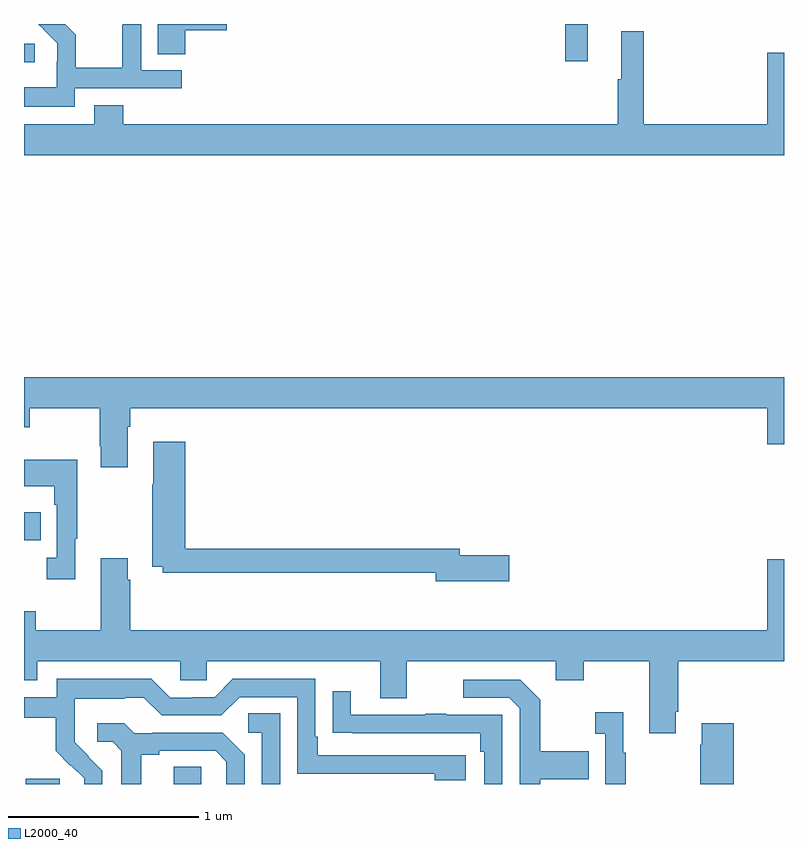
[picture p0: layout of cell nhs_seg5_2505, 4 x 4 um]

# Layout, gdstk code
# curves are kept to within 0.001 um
import gdstk
lib = gdstk.Library(unit=1e-6, precision=1e-09)
def R(c, l, rs):  # rectangles x0, y0, x1, y1
    for r in rs: c.add(gdstk.rectangle(r[:2], r[2:], *l))
def P(c, l, *ps):  # polygons
    for p in ps: c.add(gdstk.Polygon(p, *l))
L2000_40 = (2000, 40)

nhs_seg5_2505 = lib.new_cell('nhs_seg5_2505')
R(nhs_seg5_2505, L2000_40, [(257.009,838.799,257.188,838.827), (257.789,838.799,257.934,838.889), (257,840.082,257.087,840.229), (257,842.597,257.056,842.694), (259.849,842.604,259.967,842.799)])
P(nhs_seg5_2505, L2000_40, [(257.268,842.46),(257.83,842.46),(257.83,842.556),(257.616,842.556),(257.616,842.799),(257.52,842.799),(257.52,842.792),(257.517,842.792),(257.517,842.569),(257.273,842.569),(257.273,842.743),(257.217,842.799),(257.075,842.799),(257.101,842.773),(257.1,842.772),(257.174,842.698),(257.174,842.601),(257.172,842.601),(257.172,842.467),(257,842.467),(257,842.363),(257.268,842.363)],
  [(257.849,842.765),(258.067,842.765),(258.067,842.799),(257.705,842.799),(257.705,842.641),(257.849,842.641)],
  [(261,842.647),(260.912,842.647),(260.912,842.272),(260.261,842.272),(260.261,842.761),(260.144,842.761),(260.144,842.508),(260.125,842.508),(260.125,842.272),(257.522,842.272),(257.522,842.371),(257.369,842.371),(257.369,842.272),(257,842.272),(257,842.108),(261,842.108)],
  [(257.545,840.68),(257.558,840.68),(257.558,840.776),(260.912,840.776),(260.912,840.588),(261,840.588),(261,840.94),(257,840.94),(257,840.677),(257.031,840.677),(257.031,840.776),(257.398,840.776),(257.398,840.577),(257.405,840.577),(257.405,840.465),(257.545,840.465)],
  [(259.555,840.002),(259.294,840.002),(259.294,840.038),(257.849,840.038),(257.849,840.601),(257.681,840.601),(257.681,840.377),(257.674,840.377),(257.674,839.942),(257.73,839.942),(257.73,839.91),(259.166,839.91),(259.166,839.867),(259.555,839.867)],
  [(257.269,840.089),(257.281,840.089),(257.281,840.505),(257,840.505),(257,840.365),(257.16,840.365),(257.16,840.269),(257.172,840.269),(257.172,839.99),(257.121,839.99),(257.121,839.877),(257.269,839.877)],
  [(260.431,839.179),(260.444,839.179),(260.444,839.444),(261,839.444),(261,839.983),(260.912,839.983),(260.912,839.608),(257.558,839.608),(257.558,839.873),(257.545,839.873),(257.545,839.986),(257.405,839.986),(257.405,839.608),(257.061,839.608),(257.061,839.707),(257,839.707),(257,839.345),(257.071,839.345),(257.071,839.444),(257.823,839.444),(257.823,839.346),(257.961,839.346),(257.961,839.444),(258.875,839.444),(258.875,839.25),(259.015,839.25),(259.015,839.444),(259.799,839.444),(259.799,839.345),(259.947,839.345),(259.947,839.444),(260.291,839.444),(260.291,839.067),(260.431,839.067)],
  [(257.412,838.87),(257.266,839.018),(257.266,839.115),(257.268,839.115),(257.268,839.249),(257.531,839.249),(257.531,839.253),(257.631,839.253),(257.724,839.16),(258.039,839.16),(258.135,839.256),(258.438,839.256),(258.438,838.854),(259.163,838.854),(259.163,838.82),(259.324,838.82),(259.324,838.95),(258.547,838.95),(258.547,839.047),(258.534,839.047),(258.534,839.352),(258.099,839.352),(258.003,839.256),(257.885,839.256),(257.885,839.253),(257.769,839.253),(257.669,839.353),(257.172,839.353),(257.172,839.256),(257,839.256),(257,839.148),(257.167,839.148),(257.167,838.973),(257.244,838.896),(257.247,838.899),(257.318,838.829),(257.318,838.799),(257.412,838.799)],
  [(259.717,838.823),(259.973,838.823),(259.973,838.971),(259.717,838.971),(259.717,839.243),(259.611,839.349),(259.311,839.349),(259.311,839.253),(259.554,839.253),(259.608,839.199),(259.608,838.799),(259.717,838.799)],
  [(259.518,839.163),(259.223,839.163),(259.223,839.168),(259.111,839.168),(259.111,839.163),(258.721,839.163),(258.721,839.287),(258.625,839.287),(258.625,839.068),(258.727,839.068),(258.727,839.067),(259.402,839.067),(259.402,838.97),(259.422,838.97),(259.422,838.799),(259.518,838.799)],
  [(260.166,838.963),(260.155,838.963),(260.155,839.176),(260.007,839.176),(260.007,839.063),(260.058,839.063),(260.058,838.799),(260.166,838.799)],
  [(258.348,839.171),(258.18,839.171),(258.18,839.07),(258.252,839.07),(258.252,838.799),(258.348,838.799)],
  [(257.617,838.952),(257.713,838.952),(257.713,838.974),(258.008,838.974),(258.065,838.917),(258.065,838.799),(258.162,838.799),(258.162,838.954),(258.046,839.07),(257.674,839.07),(257.674,839.067),(257.58,839.067),(257.528,839.119),(257.385,839.119),(257.385,839.022),(257.466,839.022),(257.513,838.975),(257.513,838.799),(257.617,838.799)],
  [(260.735,839.119),(260.567,839.119),(260.567,839.006),(260.56,839.006),(260.56,838.799),(260.735,838.799)])

lib.write_gds('nhs_seg5_2505.gds')
